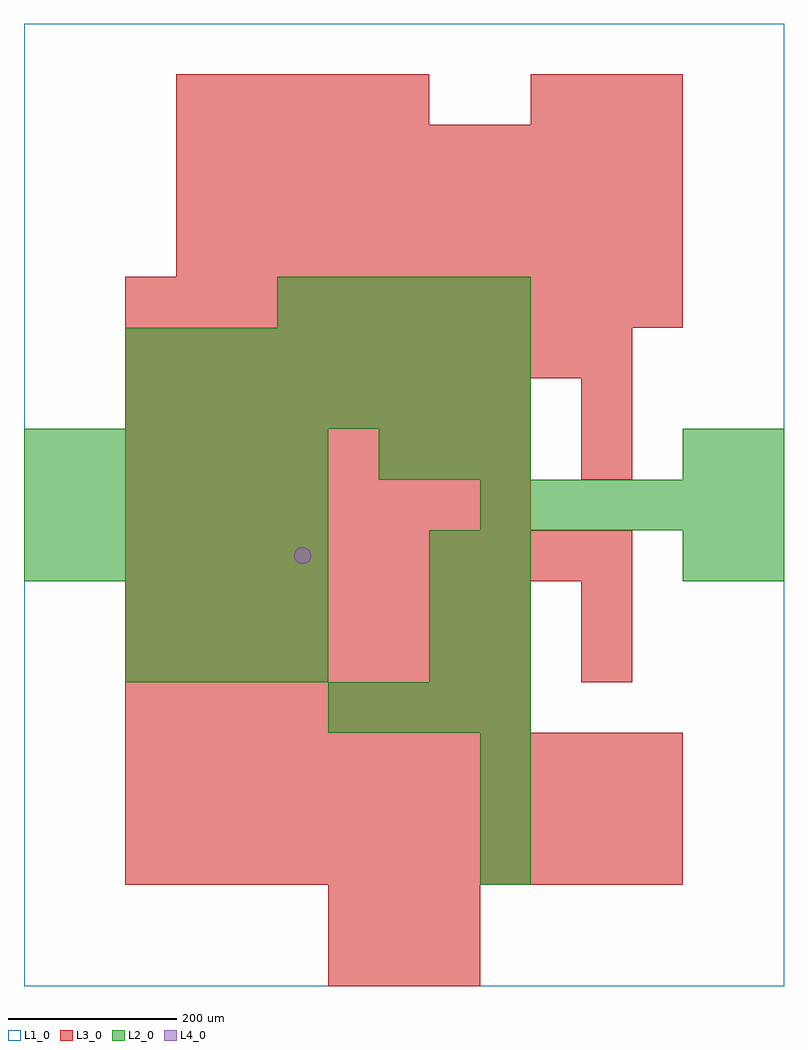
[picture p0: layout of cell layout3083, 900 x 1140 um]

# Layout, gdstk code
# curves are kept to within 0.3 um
import gdstk
lib = gdstk.Library(unit=1e-6, precision=1e-09)
def R(c, l, rs):  # rectangles x0, y0, x1, y1
    for r in rs: c.add(gdstk.rectangle(r[:2], r[2:], *l))
def A(c, l, x, y, w, h, nx, ny, dx, dy):  # array of equal rectangles
    R(c, l, [(x+i*dx, y+j*dy, x+i*dx+w, y+j*dy+h) for i in range(nx) for j in range(ny)])
def P(c, l, *ps):  # polygons
    for p in ps: c.add(gdstk.Polygon(p, *l))
L1_0 = (1, 0)
L2_0 = (2, 0)
L3_0 = (3, 0)
L4_0 = (4, 0)

layout3083 = lib.new_cell('layout3083')
R(layout3083, L1_0, [(0,0,900,1140)])
A(layout3083, L2_0, 540, 120, 60, 60, 1, 3, 0, 60)
A(layout3083, L2_0, 360, 300, 60, 60, 4, 1, 60, 0)
A(layout3083, L2_0, 120, 360, 60, 60, 4, 2, 60, 60)
A(layout3083, L2_0, 480, 360, 60, 60, 1, 3, 0, 60)
A(layout3083, L2_0, 540, 360, 60, 60, 1, 3, 0, 60)
A(layout3083, L2_0, 0, 480, 60, 60, 6, 3, 60, 60)
A(layout3083, L2_0, 540, 540, 60, 60, 6, 1, 60, 0)
A(layout3083, L2_0, 420, 600, 60, 60, 3, 1, 60, 0)
A(layout3083, L2_0, 120, 660, 60, 60, 8, 2, 60, 60)
A(layout3083, L2_0, 300, 780, 60, 60, 5, 1, 60, 0)
R(layout3083, L2_0, [(780,480,840,540), (840,480,900,540), (780,600,840,660), (840,600,900,660)])
A(layout3083, L3_0, 360, 0, 60, 60, 3, 2, 60, 60)
A(layout3083, L3_0, 120, 120, 60, 60, 11, 3, 60, 60)
A(layout3083, L3_0, 120, 300, 60, 60, 8, 3, 60, 60)
A(layout3083, L3_0, 120, 480, 60, 60, 10, 2, 60, 240)
A(layout3083, L3_0, 120, 540, 60, 60, 8, 3, 60, 60)
A(layout3083, L3_0, 120, 780, 60, 60, 11, 1, 60, 0)
A(layout3083, L3_0, 180, 840, 60, 60, 10, 3, 60, 60)
A(layout3083, L3_0, 180, 1020, 60, 60, 5, 1, 60, 0)
A(layout3083, L3_0, 600, 1020, 60, 60, 3, 1, 60, 0)
R(layout3083, L3_0, [(660,360,720,420), (660,420,720,480), (660,600,720,660), (660,660,720,720)])
P(layout3083, L4_0, [(340,510),(339.239,513.827),(337.071,517.071),(333.827,519.239),(330,520),(326.173,519.239),(322.929,517.071),(320.761,513.827),(320,510),(320.761,506.173),(322.929,502.929),(326.173,500.761),(330,500),(333.827,500.761),(337.071,502.929),(339.239,506.173)])

lib.write_gds('layout3083.gds')
